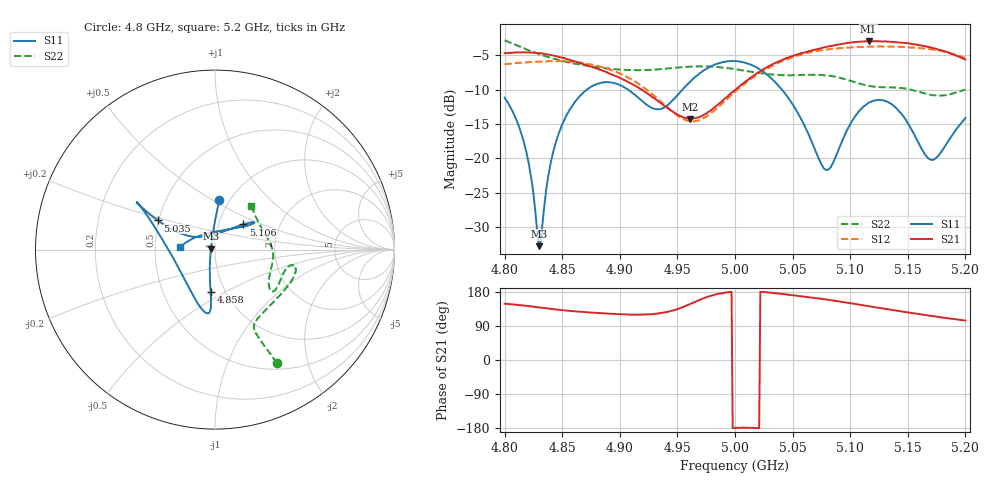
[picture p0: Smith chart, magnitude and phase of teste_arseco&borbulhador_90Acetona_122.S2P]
! Network Analyzer HP8722D
! Hewlett-Packard
! Data name: Linha & Wilkinson
! Saver's name: Rodrigo Anjos
! Comments: Teste da utilização de aquisição
! continua pelo VNA HP8722D
! Time and date: 17/4/2025 12:04
!  Frequency  S11  S21  S12  S22
# HZ  S  MA R 50
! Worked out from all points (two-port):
!   401 points, 4.8 GHz to 5.2 GHz, reference 50 ohm
!   highest |S21| = -2.98 dB at 5.116 GHz (marker M1); lowest = -14.3 dB at 4.961 GHz (marker M2)
!   |S21| within 3 dB of the highest: start of sweep to 4.862 GHz; 5.037 GHz to end of sweep
!   lowest |S11| = -32.8 dB at 4.83 GHz (marker M3), VSWR 1.05, Z = 47.8 + j0.435 ohm
!   |S11| at or under -10 dB: start of sweep to 4.871 GHz; 4.907 GHz to 4.955 GHz (47.53 MHz wide, 0.964 % of centre); 5.041 GHz to end of sweep
!   |S22| runs from -10.9 to -2.9 dB; largest |S21 - S12| = 1.3
!   S11 on the Smith chart (normalised r, x): 4.8 GHz: 0.90, +0.53; 4.858 GHz: 0.86, -0.43; 5.035 GHz: 0.49, +0.18; 5.106 GHz: 1.31, +0.38; 5.2 GHz: 0.67, +0.02
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4.8e9  0.2761 85.2  0.5816 148.4  0.4838 -112.7  0.7189 -61.2
4.81e9  0.1926 88.0  0.5875 146.1  0.4913 -112.6  0.666 -62.0
4.818e9  0.1189 93.2  0.5889 143.2  0.4978 -112.3  0.6238 -62.4
4.823e9  0.0729 101.1  0.5859 141.7  0.5 -111.8  0.6007 -63.0
4.83e9  0.023 168.6  0.5811 138.8  0.5045 -111.7  0.5714 -63.3
4.832e9  0.02794 -150.6  0.5786 138.0  0.5052 -111.5  0.5647 -63.4
4.837e9  0.06669 -114.8  0.5686 135.9  0.5072 -111.3  0.5466 -63.5
4.842e9  0.1098 -105.4  0.5599 134.2  0.5059 -111.2  0.5319 -63.8
4.858e9  0.2363 -95.8  0.5144 129.2  0.5044 -111.0  0.4934 -63.8
4.867e9  0.293 -94.4  0.4879 126.8  0.4939 -111.5  0.4774 -63.0
4.898e9  0.3465 -101.0  0.3916 121.3  0.4204 -114.9  0.4437 -54.0
4.934e9  0.2273 -154.4  0.2574 122.9  0.2664 -115.1  0.4431 -33.5
4.961e9  0.3614 159.3  0.1936 147.6  0.1865 -89.2  0.4633 -19.7
5e9  0.5096 148.9  0.314 -179.5  0.3049 -49.8  0.4442 -11.3
5.035e9  0.3572 152.9  0.4933 176.2  0.4822 -46.2  0.4054 -18.0
5.067e9  0.1297 146.8  0.61 164.5  0.5944 -50.0  0.4043 -31.8
5.081e9  0.08295 97.4  0.6493 158.7  0.6191 -52.6  0.3998 -35.7
5.106e9  0.2106 41.8  0.701 146.9  0.6429 -58.6  0.3526 -31.9
5.116e9  0.2531 36.9  0.7098 141.8  0.648 -61.6  0.3362 -25.2
5.134e9  0.2528 34.4  0.7045 133.2  0.6482 -67.4  0.3278 -10.8
5.17e9  0.09795 98.1  0.6382 116.6  0.6201 -79.9  0.2898 20.1
5.2e9  0.1963 175.7  0.5209 104.0  0.5346 -89.8  0.3156 50.2
